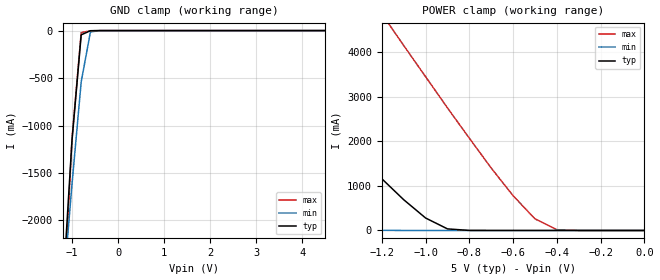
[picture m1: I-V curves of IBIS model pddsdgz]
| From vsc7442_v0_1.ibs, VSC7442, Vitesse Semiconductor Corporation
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|   Model pddsdgz
[Model]   pddsdgz
Model_type   Input
Polarity   Non-Inverting
Vinl =   0.80V
Vinh =   2.00V
C_comp   5.00pF   5.00pF   5.00pF
[Temperature Range]   25.00   0.12k   0.000
[Pullup Reference]   3.30V   3.00V   3.60V
[Pulldown Reference]   0.000V   0.000V   0.000V
[POWER Clamp Reference]   5.00V   4.50V   5.50V
[GND Clamp Reference]   0.000V   0.000V   0.000V
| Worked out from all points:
|   GND clamp passes 1 mA (typ) near -0.55 V on its own axis
|   POWER clamp passes 1 mA (typ) near -0.79 V on its own axis
[GND_clamp]
| voltage   I(typ)   I(min)   I(max)
-5V       -35.2A     -26.01A    -43.15A
-1.2V     -2.75A     -2.79A     -3.09A
-1V       -1.16A     -1.62A     -1.14A
-800mV    -44.65mA   -540mA     -21mA
-600mV    -1.36mA    -14.82mA   -1.97mA
-400mV    -32.9uA    -130uA     -44.41uA
5V        70.28uA    190uA      97.55uA
[POWER_clamp]
| voltage   I(typ)   I(min)   I(max)
-5V       21.17A     12.07A     32.18A
-2.7V     9.03A      4.41A      15.64A
-1.9V     4.81A      1.74A      9.89A
-1.8V     4.28A      1.41A      9.17A
-1.4V     2.17A      200mA      6.3A
-1.2V     1.16A      3.37mA     4.86A
-1.1V     690mA      230uA      4.15A
-900mV    35.46mA    40.07uA    2.75A
-700mV    97.77uA    38.53uA    1.4A
-500mV    74.4uA     37.82uA    260mA
-400mV    73.59uA    37.55uA    17.4mA
0V        71.47uA    36.88uA    100uA
